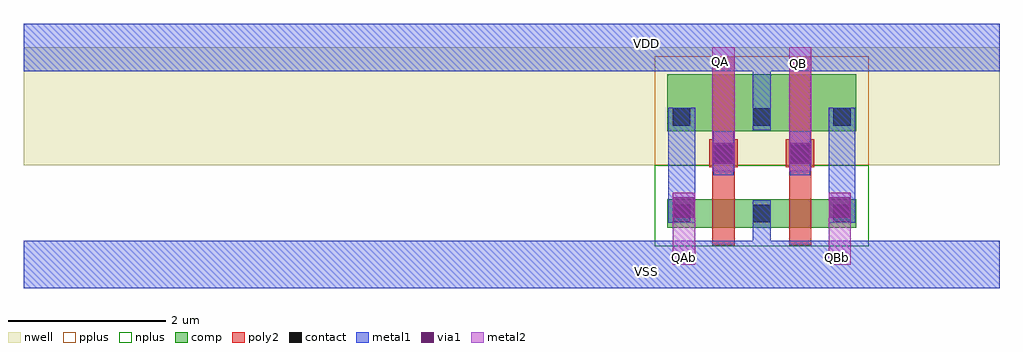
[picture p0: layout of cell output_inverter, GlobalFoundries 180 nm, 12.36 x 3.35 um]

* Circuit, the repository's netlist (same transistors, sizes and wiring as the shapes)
** sch_path: /foss/designs/engn1600-team1/CAD3/output_inverter.sch
.subckt output_inverter VDD VSS QAb QA QB QBb
*.PININFO QBb:O QAb:O VDD:B VSS:B QA:I QB:I
M3 QBb QB VDD VDD pfet_03v3 L=0.28u W=0.72u nf=1 m=1
M4 QBb QB VSS VSS nfet_03v3 L=0.28u W=0.36u nf=1 m=1
M35 QAb QA VDD VDD pfet_03v3 L=0.28u W=0.72u nf=1 m=1
M36 QAb QA VSS VSS nfet_03v3 L=0.28u W=0.36u nf=1 m=1
.ends

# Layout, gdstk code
import gdstk
lib = gdstk.Library(unit=1e-6, precision=5e-09)
def R(c, l, rs):  # rectangles x0, y0, x1, y1
    for r in rs: c.add(gdstk.rectangle(r[:2], r[2:], *l))
def A(c, l, x, y, w, h, nx, ny, dx, dy):  # array of equal rectangles
    R(c, l, [(x+i*dx, y+j*dy, x+i*dx+w, y+j*dy+h) for i in range(nx) for j in range(ny)])
nwell = (21, 0)
comp = (22, 0)
poly2 = (30, 0)
pplus = (31, 0)
nplus = (32, 0)
contact = (33, 0)
metal1 = (34, 0)
via1 = (35, 0)
metal2 = (36, 0)

output_inverter = lib.new_cell('output_inverter')
R(output_inverter, nwell, [(-16.69,3.665,-4.33,5.16)])
R(output_inverter, comp, [(-8.535,2.875,-6.145,3.235), (-8.535,4.1,-6.145,4.82)])
R(output_inverter, poly2, [(-7.965,2.655,-7.685,5.04), (-6.995,2.655,-6.715,5.04), (-8.005,3.64,-7.645,4), (-7.035,3.64,-6.675,4)])
R(output_inverter, pplus, [(-8.695,3.665,-5.985,5.05)])
R(output_inverter, nplus, [(-8.695,2.645,-5.985,3.665)])
A(output_inverter, contact, -8.465, 2.945, 0.22, 0.22, 3, 2, 1.015, 1.225)
R(output_inverter, contact, [(-7.935,3.71,-7.715,3.93), (-6.965,3.71,-6.745,3.93)])
R(output_inverter, metal1, [(-16.69,2.11,-4.33,2.71), (-7.455,2.71,-7.225,3.225), (-8.525,2.94,-8.185,4.395), (-6.495,2.94,-6.155,4.395), (-7.955,3.54,-7.695,4.1), (-6.985,3.54,-6.725,4.1), (-7.455,4.11,-7.225,4.86), (-16.69,4.86,-4.33,5.46)])
R(output_inverter, via1, [(-8.455,3,-8.195,3.26), (-6.485,3,-6.225,3.26), (-7.955,3.69,-7.695,3.95), (-6.985,3.69,-6.725,3.95)])
R(output_inverter, metal2, [(-8.465,2.41,-8.185,3.32), (-6.495,2.41,-6.215,3.32), (-7.965,3.59,-7.685,5.16), (-6.995,3.59,-6.715,5.16)])
output_inverter.add(gdstk.Label('VDD', (-8.795,5.215), layer=34, texttype=10))
output_inverter.add(gdstk.Label('VSS', (-8.795,2.32), layer=34, texttype=10))
output_inverter.add(gdstk.Label('QA', (-7.865,4.985), layer=36, texttype=10))
output_inverter.add(gdstk.Label('QB', (-6.87,4.96), layer=36, texttype=10))
output_inverter.add(gdstk.Label('QAb', (-8.325,2.505), layer=36, texttype=10))
output_inverter.add(gdstk.Label('QBb', (-6.385,2.495), layer=36, texttype=10))

lib.write_gds('output_inverter.gds')
